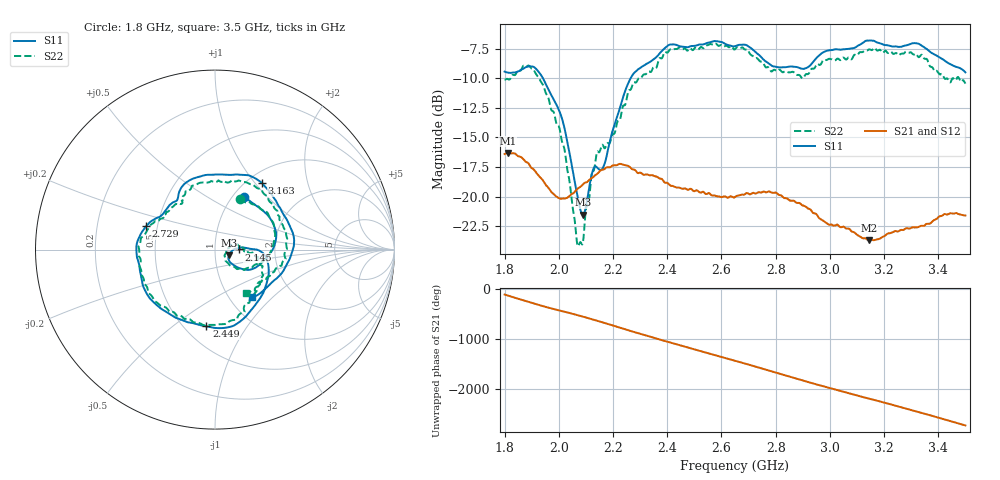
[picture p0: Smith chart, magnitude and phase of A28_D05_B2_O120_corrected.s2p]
! Created with skrf 1.9.0 (http://scikit-rf.org).
# Hz S RI R 50.0
!freq ReS11 ImS11 ReS21 ImS21 ReS12 ImS12 ReS22 ImS22
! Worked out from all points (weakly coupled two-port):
!   1601 points, 1.8 GHz to 3.5 GHz, reference 50 ohm
!   highest |S21| = -16.31 dB at 1.812 GHz (marker M1); lowest = -23.7 dB at 3.144 GHz (marker M2)
!   lowest |S11| = -21.5 dB at 2.089 GHz (marker M3), VSWR 1.18, Z = 58.3 - j3.71 ohm
!   |S11| at or under -10 dB: 1.941 GHz to 2.265 GHz (323.7 MHz wide, 15.4 % of centre)
!   |S22| runs from -24.2 to -7.1 dB; largest |S21 - S12| = 0.0027
!   S11 on the Smith chart (normalised r, x): 1.8 GHz: 1.13, +0.75; 2.145 GHz: 1.30, +0.00; 2.449 GHz: 0.64, -0.67; 2.729 GHz: 0.43, +0.13; 3.163 GHz: 1.16, +1.09; 3.5 GHz: 1.27, -0.75
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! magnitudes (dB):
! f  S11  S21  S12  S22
! 1.8 GHz  -9.4  -16.4  -16.4  -10.1
! 1.812 GHz  -9.5  -16.3  -16.3  -10.1
! 1.887 GHz  -9.0  -17.2  -17.2  -8.9
! 1.941 GHz  -10.0  -18.6  -18.6  -10.6
! 2.013 GHz  -13.5  -20.2  -20.2  -15.4
! 2.067 GHz  -19.7  -19.4  -19.4  -23.8
! 2.084 GHz  -21.4  -19.1  -19.1  -24.0
! 2.089 GHz  -21.5  -19.0  -19.0  -23.8
! 2.125 GHz  -17.8  -18.4  -18.4  -17.9
! 2.145 GHz  -17.6  -18.0  -18.0  -16.2
! 2.168 GHz  -17.3  -17.7  -17.7  -15.9
! 2.264 GHz  -10.0  -17.6  -17.6  -11.0
! 2.367 GHz  -8.0  -18.4  -18.4  -8.5
! 2.449 GHz  -7.3  -19.3  -19.3  -7.5
! 2.65 GHz  -7.3  -20.0  -20.0  -7.6
! 2.729 GHz  -7.9  -19.7  -19.8  -8.3
! 2.934 GHz  -8.8  -21.2  -21.2  -9.2
! 3.144 GHz  -6.8  -23.7  -23.6  -7.6
! 3.163 GHz  -6.9  -23.7  -23.7  -7.5
! 3.217 GHz  -7.3  -23.1  -23.1  -7.9
! 3.326 GHz  -7.1  -22.6  -22.5  -8.2
! 3.5 GHz  -9.5  -21.6  -21.6  -10.5
